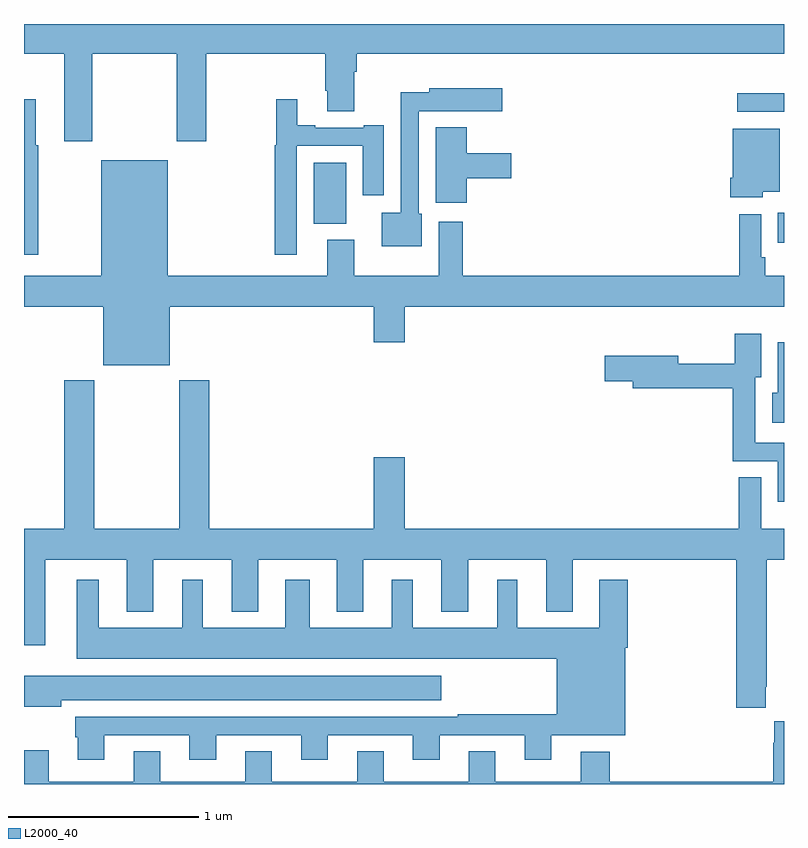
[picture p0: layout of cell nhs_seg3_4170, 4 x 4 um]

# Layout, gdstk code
import gdstk
lib = gdstk.Library(unit=1e-6, precision=1e-09)
def R(c, l, rs):  # rectangles x0, y0, x1, y1
    for r in rs: c.add(gdstk.rectangle(r[:2], r[2:], *l))
def P(c, l, *ps):  # polygons
    for p in ps: c.add(gdstk.Polygon(p, *l))
L2000_40 = (2000, 40)

nhs_seg3_4170 = lib.new_cell('nhs_seg3_4170')
R(nhs_seg3_4170, L2000_40, [(334.966,705.248,335,705.406), (332.525,705.35,332.695,705.67), (334.755,705.939,335,706.035)])
P(nhs_seg3_4170, L2000_40, [(331.359,706.244),(331.804,706.244),(331.804,705.783),(331.959,705.783),(331.959,706.244),(332.585,706.244),(332.585,706.048),(332.597,706.048),(332.597,705.94),(332.737,705.94),(332.737,706.148),(332.75,706.148),(332.75,706.244),(335,706.244),(335,706.4),(331,706.4),(331,706.244),(331.211,706.244),(331.211,705.783),(331.359,705.783)],
  [(333.094,705.402),(333.078,705.402),(333.078,705.942),(333.29,705.942),(333.29,705.941),(333.517,705.941),(333.517,706.063),(333.132,706.063),(333.132,706.04),(332.982,706.04),(332.982,705.406),(332.882,705.406),(332.882,705.23),(333.094,705.23)],
  [(332.436,705.759),(332.783,705.759),(332.783,705.498),(332.893,705.498),(332.893,705.868),(332.789,705.868),(332.789,705.855),(332.533,705.855),(332.533,705.868),(332.437,705.868),(332.437,706.003),(332.328,706.003),(332.328,705.762),(332.32,705.762),(332.32,705.186),(332.436,705.186)],
  [(331.075,705.762),(331.063,705.762),(331.063,706.003),(331,706.003),(331,705.186),(331.075,705.186)],
  [(333.329,705.587),(333.565,705.587),(333.565,705.721),(333.329,705.721),(333.329,705.856),(333.167,705.856),(333.167,705.459),(333.329,705.459)],
  [(334.888,705.518),(334.978,705.518),(334.978,705.85),(334.73,705.85),(334.73,705.592),(334.718,705.592),(334.718,705.488),(334.888,705.488)],
  [(331.768,704.912),(332.84,704.912),(332.84,704.724),(333.004,704.724),(333.004,704.912),(335,704.912),(335,705.076),(334.901,705.076),(334.901,705.172),(334.881,705.172),(334.881,705.4),(334.765,705.4),(334.765,705.076),(333.308,705.076),(333.308,705.358),(333.182,705.358),(333.182,705.076),(332.737,705.076),(332.737,705.265),(332.597,705.265),(332.597,705.076),(331.756,705.076),(331.756,705.682),(331.406,705.682),(331.406,705.076),(331,705.076),(331,704.912),(331.418,704.912),(331.418,704.603),(331.768,704.603)],
  [(335,704.196),(334.849,704.196),(334.849,704.541),(334.879,704.541),(334.879,704.77),(334.741,704.77),(334.741,704.611),(334.444,704.611),(334.444,704.653),(334.056,704.653),(334.056,704.519),(334.205,704.519),(334.205,704.482),(334.731,704.482),(334.731,704.1),(334.968,704.1),(334.968,703.886),(335,703.886)],
  [(335,704.726),(334.968,704.726),(334.968,704.46),(334.937,704.46),(334.937,704.301),(335,704.301)],
  [(331.976,704.524),(331.816,704.524),(331.816,703.744),(331.371,703.744),(331.371,704.524),(331.211,704.524),(331.211,703.744),(331,703.744),(331,703.131),(331.111,703.131),(331.111,703.58),(331.541,703.58),(331.541,703.307),(331.681,703.307),(331.681,703.58),(332.093,703.58),(332.093,703.307),(332.233,703.307),(332.233,703.58),(332.645,703.58),(332.645,703.307),(332.785,703.307),(332.785,703.58),(333.197,703.58),(333.197,703.307),(333.337,703.307),(333.337,703.58),(333.749,703.58),(333.749,703.307),(333.889,703.307),(333.889,703.58),(334.748,703.58),(334.748,702.801),(334.903,702.801),(334.903,702.913),(334.908,702.913),(334.908,703.58),(335,703.58),(335,703.744),(334.879,703.744),(334.879,704.015),(334.761,704.015),(334.761,703.744),(333.004,703.744),(333.004,704.119),(332.84,704.119),(332.84,703.744),(331.976,703.744)],
  [(331.423,702.657),(331.871,702.657),(331.871,702.528),(332.011,702.528),(332.011,702.657),(332.459,702.657),(332.459,702.528),(332.599,702.528),(332.599,702.657),(333.047,702.657),(333.047,702.528),(333.187,702.528),(333.187,702.657),(333.635,702.657),(333.635,702.528),(333.775,702.528),(333.775,702.656),(334.165,702.656),(334.165,703.118),(334.178,703.118),(334.178,703.474),(334.028,703.474),(334.028,703.222),(333.595,703.222),(333.595,703.474),(333.491,703.474),(333.491,703.222),(333.046,703.222),(333.046,703.474),(332.936,703.474),(332.936,703.222),(332.503,703.222),(332.503,703.474),(332.375,703.474),(332.375,703.222),(331.942,703.222),(331.942,703.474),(331.832,703.474),(331.832,703.222),(331.393,703.222),(331.393,703.474),(331.277,703.474),(331.277,703.058),(333.803,703.058),(333.803,702.766),(333.283,702.766),(333.283,702.753),(331.271,702.753),(331.271,702.645),(331.283,702.645),(331.283,702.528),(331.423,702.528)],
  [(331.195,702.842),(333.196,702.842),(333.196,702.97),(331,702.97),(331,702.806),(331.195,702.806)],
  [(335,702.73),(334.949,702.73),(334.949,702.617),(334.943,702.617),(334.943,702.412),(334.082,702.412),(334.082,702.571),(333.929,702.571),(333.929,702.412),(333.481,702.412),(333.481,702.572),(333.341,702.572),(333.341,702.412),(332.893,702.412),(332.893,702.572),(332.753,702.572),(332.753,702.412),(332.305,702.412),(332.305,702.572),(332.165,702.572),(332.165,702.412),(331.717,702.412),(331.717,702.572),(331.577,702.572),(331.577,702.412),(331.129,702.412),(331.129,702.577),(331,702.577),(331,702.4),(335,702.4)])

lib.write_gds('nhs_seg3_4170.gds')
